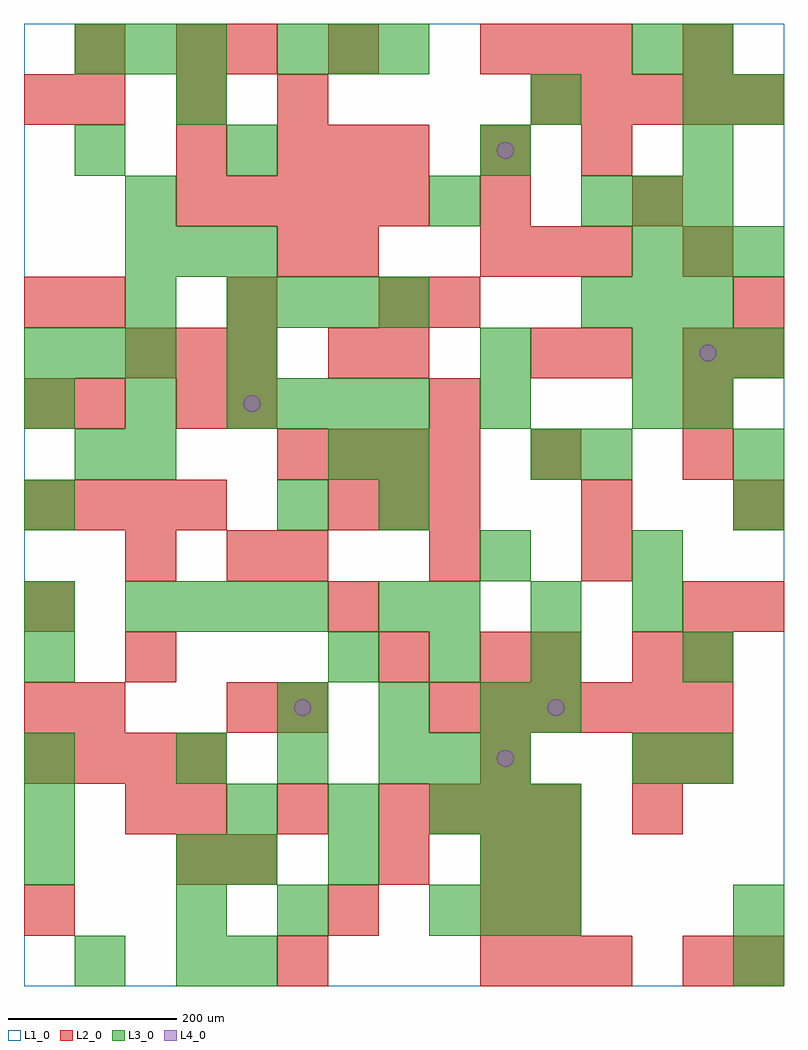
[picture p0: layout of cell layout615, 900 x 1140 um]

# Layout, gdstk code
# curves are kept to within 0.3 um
import gdstk
lib = gdstk.Library(unit=1e-6, precision=1e-09)
def R(c, l, rs):  # rectangles x0, y0, x1, y1
    for r in rs: c.add(gdstk.rectangle(r[:2], r[2:], *l))
def A(c, l, x, y, w, h, nx, ny, dx, dy):  # array of equal rectangles
    R(c, l, [(x+i*dx, y+j*dy, x+i*dx+w, y+j*dy+h) for i in range(nx) for j in range(ny)])
def P(c, l, *ps):  # polygons
    for p in ps: c.add(gdstk.Polygon(p, *l))
L1_0 = (1, 0)
L2_0 = (2, 0)
L3_0 = (3, 0)
L4_0 = (4, 0)

layout615 = lib.new_cell('layout615')
R(layout615, L1_0, [(0,0,900,1140)])
A(layout615, L2_0, 540, 0, 60, 60, 3, 2, 60, 840)
A(layout615, L2_0, 240, 120, 60, 60, 1, 4, 0, 180)
A(layout615, L2_0, 540, 120, 60, 60, 1, 3, 0, 120)
A(layout615, L2_0, 600, 120, 60, 60, 1, 3, 0, 240)
A(layout615, L2_0, 180, 180, 60, 60, 3, 1, 120, 0)
A(layout615, L2_0, 480, 180, 60, 60, 3, 1, 60, 0)
A(layout615, L2_0, 0, 240, 60, 60, 4, 2, 60, 300)
A(layout615, L2_0, 480, 300, 60, 60, 6, 1, 60, 0)
A(layout615, L2_0, 300, 480, 60, 60, 3, 1, 180, 0)
A(layout615, L2_0, 360, 540, 60, 60, 3, 1, 60, 0)
A(layout615, L2_0, 300, 600, 60, 60, 4, 1, 60, 0)
A(layout615, L2_0, 780, 600, 60, 60, 1, 3, 0, 60)
A(layout615, L2_0, 120, 720, 60, 60, 3, 1, 60, 0)
A(layout615, L2_0, 60, 780, 60, 60, 3, 1, 180, 0)
A(layout615, L2_0, 180, 900, 60, 60, 5, 1, 60, 0)
A(layout615, L2_0, 300, 960, 60, 60, 3, 1, 60, 0)
A(layout615, L2_0, 60, 1020, 60, 60, 3, 1, 120, 0)
A(layout615, L2_0, 600, 1020, 60, 60, 5, 1, 60, 0)
A(layout615, L2_0, 540, 1080, 60, 60, 3, 1, 60, 0)
R(layout615, L2_0, [(300,0,360,60), (780,0,840,60), (840,0,900,60), (0,60,60,120), (360,60,420,120), (540,60,600,120), (600,60,660,120), (180,120,240,180), (420,120,480,180), (120,180,180,240), (720,180,780,240), (720,240,780,300), (780,240,840,300), (0,300,60,360), (60,300,120,360), (300,300,360,360), (120,360,180,420), (420,360,480,420), (720,360,780,420), (780,360,840,420), (0,420,60,480), (360,420,420,480), (780,420,840,480), (840,420,900,480), (120,480,180,540), (660,540,720,600), (840,540,900,600), (0,660,60,720), (60,660,120,720), (180,660,240,720), (480,660,540,720), (360,720,420,780), (420,720,480,780), (600,720,660,780), (660,720,720,780), (840,720,900,780), (0,780,60,840), (480,780,540,840), (840,780,900,840), (300,840,360,900), (360,840,420,900), (780,840,840,900), (540,900,600,960), (720,900,780,960), (180,960,240,1020), (540,960,600,1020), (660,960,720,1020), (0,1020,60,1080), (60,1080,120,1140), (180,1080,240,1140), (240,1080,300,1140), (360,1080,420,1140), (780,1080,840,1140)])
A(layout615, L3_0, 180, 0, 60, 60, 1, 3, 0, 60)
A(layout615, L3_0, 480, 60, 60, 60, 3, 1, 60, 0)
A(layout615, L3_0, 0, 120, 60, 60, 1, 3, 0, 60)
A(layout615, L3_0, 540, 120, 60, 60, 1, 3, 0, 60)
A(layout615, L3_0, 240, 180, 60, 60, 3, 1, 120, 0)
A(layout615, L3_0, 180, 240, 60, 60, 3, 1, 120, 0)
A(layout615, L3_0, 300, 300, 60, 60, 3, 1, 120, 0)
A(layout615, L3_0, 360, 360, 60, 60, 3, 1, 120, 0)
A(layout615, L3_0, 780, 360, 60, 60, 1, 3, 0, 300)
A(layout615, L3_0, 120, 420, 60, 60, 4, 1, 60, 0)
A(layout615, L3_0, 480, 420, 60, 60, 3, 1, 120, 0)
A(layout615, L3_0, 0, 660, 60, 60, 3, 1, 120, 0)
A(layout615, L3_0, 300, 660, 60, 60, 3, 2, 60, 420)
A(layout615, L3_0, 0, 720, 60, 60, 3, 1, 60, 0)
A(layout615, L3_0, 720, 720, 60, 60, 3, 2, 60, 120)
A(layout615, L3_0, 240, 780, 60, 60, 4, 1, 60, 0)
A(layout615, L3_0, 660, 780, 60, 60, 3, 2, 60, 120)
A(layout615, L3_0, 120, 840, 60, 60, 3, 1, 60, 0)
A(layout615, L3_0, 60, 1080, 60, 60, 3, 1, 60, 0)
R(layout615, L3_0, [(60,0,120,60), (240,0,300,60), (840,0,900,60), (300,60,360,120), (840,60,900,120), (240,120,300,180), (360,120,420,180), (600,120,660,180), (600,180,660,240), (480,240,540,300), (720,240,780,300), (780,240,840,300), (600,300,660,360), (0,360,60,420), (0,420,60,480), (420,420,480,480), (540,480,600,540), (720,480,780,540), (0,540,60,600), (300,540,360,600), (420,540,480,600), (840,540,900,600), (60,600,120,660), (120,600,180,660), (360,600,420,660), (420,600,480,660), (600,600,660,660), (660,600,720,660), (840,600,900,660), (540,660,600,720), (720,660,780,720), (240,720,300,780), (540,720,600,780), (120,780,180,840), (120,900,180,960), (480,900,540,960), (60,960,120,1020), (240,960,300,1020), (540,960,600,1020), (180,1020,240,1080), (600,1020,660,1080), (780,1020,840,1080), (840,1020,900,1080), (720,1080,780,1140), (780,1080,840,1140)])
P(layout615, L4_0, [(280,690),(279.239,693.827),(277.071,697.071),(273.827,699.239),(270,700),(266.173,699.239),(262.929,697.071),(260.761,693.827),(260,690),(260.761,686.173),(262.929,682.929),(266.173,680.761),(270,680),(273.827,680.761),(277.071,682.929),(279.239,686.173)],
  [(340,330),(339.239,333.827),(337.071,337.071),(333.827,339.239),(330,340),(326.173,339.239),(322.929,337.071),(320.761,333.827),(320,330),(320.761,326.173),(322.929,322.929),(326.173,320.761),(330,320),(333.827,320.761),(337.071,322.929),(339.239,326.173)],
  [(580,270),(579.239,273.827),(577.071,277.071),(573.827,279.239),(570,280),(566.173,279.239),(562.929,277.071),(560.761,273.827),(560,270),(560.761,266.173),(562.929,262.929),(566.173,260.761),(570,260),(573.827,260.761),(577.071,262.929),(579.239,266.173)],
  [(580,990),(579.239,993.827),(577.071,997.071),(573.827,999.239),(570,1000),(566.173,999.239),(562.929,997.071),(560.761,993.827),(560,990),(560.761,986.173),(562.929,982.929),(566.173,980.761),(570,980),(573.827,980.761),(577.071,982.929),(579.239,986.173)],
  [(640,330),(639.239,333.827),(637.071,337.071),(633.827,339.239),(630,340),(626.173,339.239),(622.929,337.071),(620.761,333.827),(620,330),(620.761,326.173),(622.929,322.929),(626.173,320.761),(630,320),(633.827,320.761),(637.071,322.929),(639.239,326.173)],
  [(820,750),(819.239,753.827),(817.071,757.071),(813.827,759.239),(810,760),(806.173,759.239),(802.929,757.071),(800.761,753.827),(800,750),(800.761,746.173),(802.929,742.929),(806.173,740.761),(810,740),(813.827,740.761),(817.071,742.929),(819.239,746.173)])

lib.write_gds('layout615.gds')
